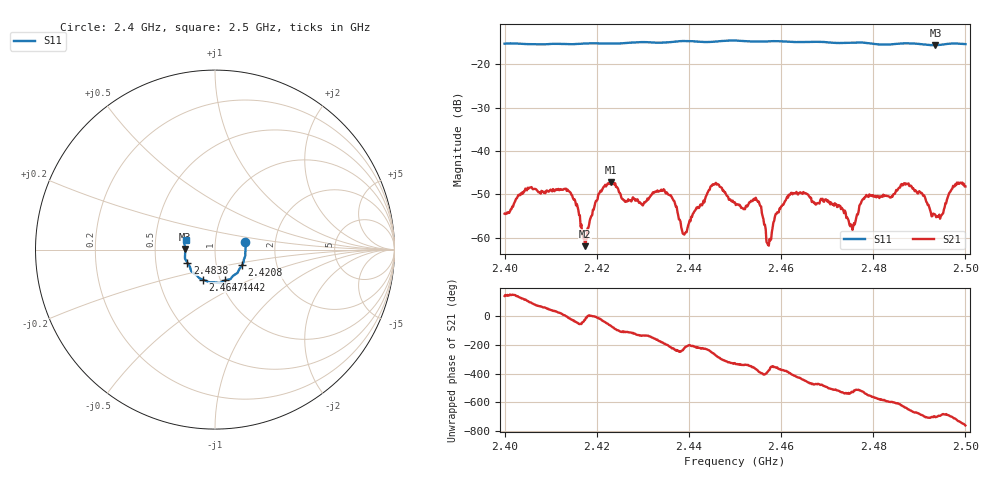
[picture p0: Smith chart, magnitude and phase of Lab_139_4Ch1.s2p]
# Hz S RI R 50
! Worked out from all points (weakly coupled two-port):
!   601 points, 2.4 GHz to 2.5 GHz, reference 50 ohm
!   highest |S21| = -47.23 dB at 2.4232 GHz (marker M1); lowest = -61.9 dB at 2.4175 GHz (marker M2)
!   lowest |S11| = -15.6 dB at 2.4935 GHz (marker M3), VSWR 1.40, Z = 35.8 + j0.21 ohm
!   |S11| at or under -10 dB: start of sweep to end of sweep
!   S12 and S22 are empty: the file has one direction only
!   S11 on the Smith chart (normalised r, x): 2.4 GHz: 1.40, +0.12; 2.4208 GHz: 1.33, -0.24; 2.4442 GHz: 1.05, -0.37; 2.4647 GHz: 0.83, -0.29; 2.4838 GHz: 0.73, -0.11; 2.5 GHz: 0.72, +0.08
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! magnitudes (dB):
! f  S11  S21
! 2.4 GHz  -15.2  -54.4
! 2.4133 GHz  -15.3  -48.7
! 2.4167 GHz  -15.2  -56.9
! 2.4175 GHz  -15.2  -61.9
! 2.4208 GHz  -15.2  -49.1
! 2.4232 GHz  -15.2  -47.2
! 2.4333 GHz  -15.0  -49.4
! 2.439 GHz  -14.6  -59.3
! 2.4442 GHz  -14.9  -49.3
! 2.45 GHz  -14.5  -51.8
! 2.455 GHz  -14.8  -51.7
! 2.4573 GHz  -14.7  -61.8
! 2.4613 GHz  -14.8  -50.5
! 2.4647 GHz  -14.9  -49.9
! 2.4667 GHz  -14.8  -51.7
! 2.4755 GHz  -15.0  -58.2
! 2.4782 GHz  -15.0  -50.6
! 2.4833 GHz  -15.5  -50.5
! 2.4838 GHz  -15.4  -50.7
! 2.4877 GHz  -15.2  -47.5
! 2.4935 GHz  -15.6  -54.8
! 2.5 GHz  -15.4  -48.2
